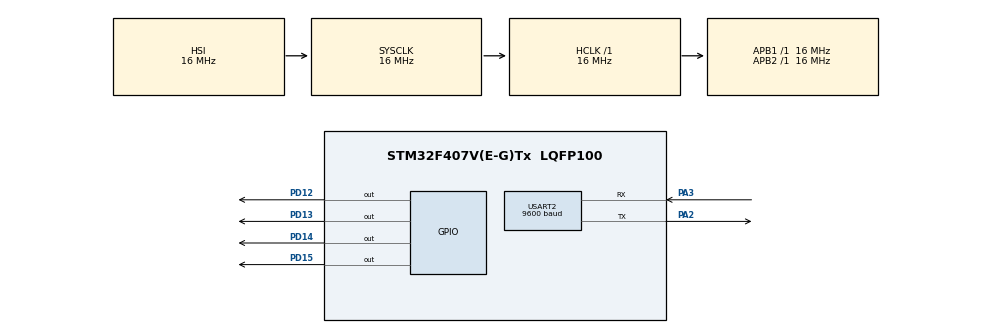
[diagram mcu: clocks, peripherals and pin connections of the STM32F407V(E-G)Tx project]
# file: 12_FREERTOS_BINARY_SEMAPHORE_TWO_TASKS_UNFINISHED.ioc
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Mcu.Family=STM32F4
Mcu.Name=STM32F407V(E-G)Tx
Mcu.Package=LQFP100
NVIC.PriorityGroup=NVIC_PRIORITYGROUP_4
NVIC.USART2_IRQn=true\:5\:0\:true\:false\:true\:true\:true\:true
PA2.Mode=Asynchronous
PA2.Signal=USART2_TX
PA3.Mode=Asynchronous
PA3.Signal=USART2_RX
PD12.Signal=GPIO_Output
PD13.Signal=GPIO_Output
PD14.Signal=GPIO_Output
PD15.Signal=GPIO_Output
ProjectManager.HeapSize=0x200
ProjectManager.StackSize=0x400
ProjectManager.TargetToolchain=STM32CubeIDE
RCC.AHBFreq_Value=16000000
RCC.APB1Freq_Value=16000000
RCC.APB2Freq_Value=16000000
RCC.CortexFreq_Value=16000000
RCC.HSE_VALUE=25000000
RCC.HSI_VALUE=16000000
RCC.LSE_VALUE=32768
RCC.SYSCLKFreq_VALUE=16000000
RCC.VCOOutputFreq_Value=192000000
USART2.BaudRate=9600
USART2.VirtualMode=VM_ASYNC
board=custom

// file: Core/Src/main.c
/* USER CODE BEGIN Header */
/**
  ******************************************************************************
  * @file           : main.c
  * @brief          : Main program body
  ******************************************************************************
  * @attention
  *
  * Copyright (c) 2022 STMicroelectronics.
  * All rights reserved.
  *
  * This software is licensed under terms that can be found in the LICENSE file
  * in the root directory of this software component.
  * If no LICENSE file comes with this software, it is provided AS-IS.
  *
  ******************************************************************************
  */
/* USER CODE END Header */
#include "main.h"

/* USER CODE BEGIN Includes */
#include "FreeRTOS.h"
#include "task.h"
/* USER CODE END Includes */

 UART_HandleTypeDef huart2;

/* USER CODE BEGIN PV */
 TaskHandle_t mytask1Handle;
 TaskHandle_t mytask2Handle;
/* USER CODE END PV */

void SystemClock_Config(void);
static void MX_GPIO_Init(void);
static void MX_USART2_UART_Init(void);
/* USER CODE BEGIN PFP */
void task1Handler(void *params);
void task2Handler(void *params);
void vApplicationIdleHook(){
	__WFI();
}
/* USER CODE END PFP */

int main(void)
{

  /* MCU Configuration--------------------------------------------------------*/

  /* Reset of all peripherals, Initializes the Flash interface and the Systick. */
  HAL_Init();

  /* Configure the system clock */
  SystemClock_Config();

  /* Initialize all configured peripherals */
  MX_GPIO_Init();
  MX_USART2_UART_Init();
  /* USER CODE BEGIN 2 */
  xTaskCreate(task1Handler, "task1", configMINIMAL_STACK_SIZE, NULL, 3, &mytask1Handle);
  xTaskCreate(task2Handler, "task2"  , configMINIMAL_STACK_SIZE, NULL, 3, &mytask2Handle);
  vTaskStartScheduler();
  /* USER CODE END 2 */

  /* Infinite loop */
  while (1)
  {

  }
}

void SystemClock_Config(void)
{
  RCC_OscInitTypeDef RCC_OscInitStruct = {0};
  RCC_ClkInitTypeDef RCC_ClkInitStruct = {0};

  /** Configure the main internal regulator output voltage
  */
  __HAL_RCC_PWR_CLK_ENABLE();
  __HAL_PWR_VOLTAGESCALING_CONFIG(PWR_REGULATOR_VOLTAGE_SCALE1);

  /** Initializes the RCC Oscillators according to the specified parameters
  * in the RCC_OscInitTypeDef structure.
  */
  RCC_OscInitStruct.OscillatorType = RCC_OSCILLATORTYPE_HSI;
  RCC_OscInitStruct.HSIState = RCC_HSI_ON;
  RCC_OscInitStruct.HSICalibrationValue = RCC_HSICALIBRATION_DEFAULT;
  RCC_OscInitStruct.PLL.PLLState = RCC_PLL_NONE;
  if (HAL_RCC_OscConfig(&RCC_OscInitStruct) != HAL_OK)
  {
    Error_Handler();
  }

  /** Initializes the CPU, AHB and APB buses clocks
  */
  RCC_ClkInitStruct.ClockType = RCC_CLOCKTYPE_HCLK|RCC_CLOCKTYPE_SYSCLK
                              |RCC_CLOCKTYPE_PCLK1|RCC_CLOCKTYPE_PCLK2;
  RCC_ClkInitStruct.SYSCLKSource = RCC_SYSCLKSOURCE_HSI;
  RCC_ClkInitStruct.AHBCLKDivider = RCC_SYSCLK_DIV1;
  RCC_ClkInitStruct.APB1CLKDivider = RCC_HCLK_DIV1;
  RCC_ClkInitStruct.APB2CLKDivider = RCC_HCLK_DIV1;

  if (HAL_RCC_ClockConfig(&RCC_ClkInitStruct, FLASH_LATENCY_0) != HAL_OK)
  {
    Error_Handler();
  }
}

static void MX_USART2_UART_Init(void)
{

  huart2.Instance = USART2;
  huart2.Init.BaudRate = 9600;
  huart2.Init.WordLength = UART_WORDLENGTH_8B;
  huart2.Init.StopBits = UART_STOPBITS_1;
  huart2.Init.Parity = UART_PARITY_NONE;
  huart2.Init.Mode = UART_MODE_TX_RX;
  huart2.Init.HwFlowCtl = UART_HWCONTROL_NONE;
  huart2.Init.OverSampling = UART_OVERSAMPLING_16;
  if (HAL_UART_Init(&huart2) != HAL_OK)
  {
    Error_Handler();
  }

}

static void MX_GPIO_Init(void)
{
  GPIO_InitTypeDef GPIO_InitStruct = {0};

  /* GPIO Ports Clock Enable */
  __HAL_RCC_GPIOA_CLK_ENABLE();
  __HAL_RCC_GPIOD_CLK_ENABLE();

  /*Configure GPIO pin Output Level */
  HAL_GPIO_WritePin(GPIOD, GPIO_PIN_12|GPIO_PIN_13|GPIO_PIN_14|GPIO_PIN_15, GPIO_PIN_RESET);

  /*Configure GPIO pins : PD12 PD13 PD14 PD15 */
  GPIO_InitStruct.Pin = GPIO_PIN_12|GPIO_PIN_13|GPIO_PIN_14|GPIO_PIN_15;
  GPIO_InitStruct.Mode = GPIO_MODE_OUTPUT_PP;
  GPIO_InitStruct.Pull = GPIO_NOPULL;
  GPIO_InitStruct.Speed = GPIO_SPEED_FREQ_LOW;
  HAL_GPIO_Init(GPIOD, &GPIO_InitStruct);

}

/* USER CODE BEGIN 4 */
void task1Handler(void *params)
{
	  while (1)
	  {
		  HAL_GPIO_WritePin(GPIOD, GPIO_PIN_12|GPIO_PIN_14,GPIO_PIN_SET);
		  HAL_GPIO_WritePin(GPIOD, GPIO_PIN_13|GPIO_PIN_15,GPIO_PIN_RESET);
		  vTaskDelay(pdMS_TO_TICKS(1000));
	  }
}
void task2Handler(void *params)
{
	  while (1)
	  {
		  HAL_GPIO_WritePin(GPIOD, GPIO_PIN_13|GPIO_PIN_15,GPIO_PIN_SET);
		  HAL_GPIO_WritePin(GPIOD, GPIO_PIN_12|GPIO_PIN_14,GPIO_PIN_RESET);
		  vTaskDelay(pdMS_TO_TICKS(1000));
	  }
}
/* USER CODE END 4 */

void Error_Handler(void)
{
  __disable_irq();
  while (1)
  {
  }
}
